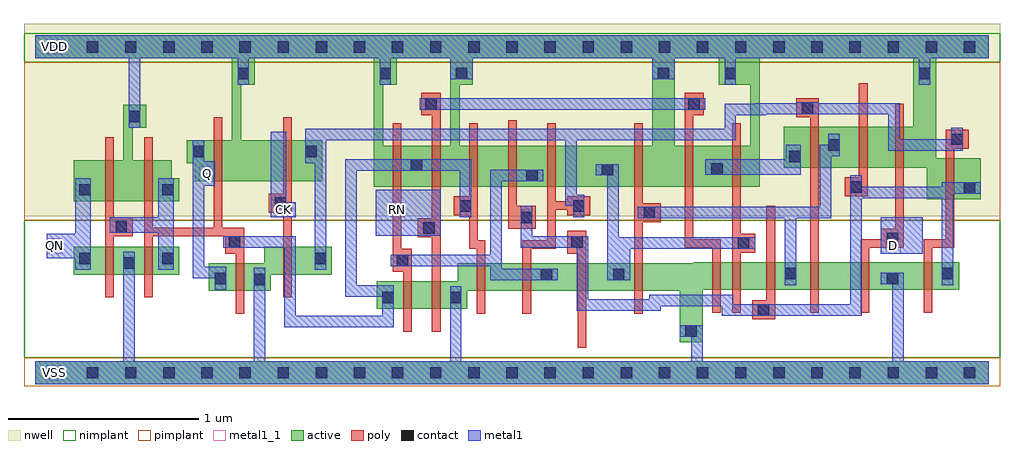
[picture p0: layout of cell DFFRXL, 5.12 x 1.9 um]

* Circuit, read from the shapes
.subckt DFFRXL CK D Q QN RN VDD VSS
M1 VSS n1 QN VSS nfet w=0.145u l=0.045u
M2 n1 n2 VSS VSS nfet w=0.145u l=0.045u
M3 VSS n2 Q VSS nfet w=0.145u l=0.045u
M4 n3 CK VSS VSS nfet w=0.145u l=0.045u
M5 n4 n5 n2 VSS nfet w=0.145u l=0.045u
M6 VSS RN n4 VSS nfet w=0.145u l=0.045u
M7 n6 n2 VSS VSS nfet w=0.145u l=0.045u
M8 n5 n3 n6 VSS nfet w=0.145u l=0.045u
M9 n7 n8 n5 VSS nfet w=0.145u l=0.045u
M10 VSS n9 n7 VSS nfet w=0.145u l=0.045u
M11 n10 RN VSS VSS nfet w=0.145u l=0.045u
M12 n11 n7 n10 VSS nfet w=0.145u l=0.045u
M13 n9 n8 n11 VSS nfet w=0.145u l=0.045u
M14 n12 n3 n9 VSS nfet w=0.145u l=0.045u
M15 VSS D n12 VSS nfet w=0.145u l=0.045u
M16 n8 n3 VSS VSS nfet w=0.145u l=0.045u
M17 VDD n1 QN VDD pfet w=0.215u l=0.045u
M18 n1 n2 VDD VDD pfet w=0.215u l=0.045u
M19 VDD n2 Q VDD pfet w=0.215u l=0.045u
M20 n3 CK VDD VDD pfet w=0.215u l=0.045u
M21 n2 n5 VDD VDD pfet w=0.215u l=0.045u
M22 VDD RN n2 VDD pfet w=0.215u l=0.045u
M23 n13 n2 VDD VDD pfet w=0.215u l=0.045u
M24 n5 n8 n13 VDD pfet w=0.215u l=0.045u
M25 n7 n3 n5 VDD pfet w=0.215u l=0.045u
M26 VDD n9 n7 VDD pfet w=0.215u l=0.045u
M27 n14 RN VDD VDD pfet w=0.215u l=0.045u
M28 VDD n7 n14 VDD pfet w=0.215u l=0.045u
M29 n9 n3 n14 VDD pfet w=0.215u l=0.045u
M30 n15 n8 n9 VDD pfet w=0.215u l=0.045u
M31 VDD D n15 VDD pfet w=0.215u l=0.045u
M32 n8 n3 VDD VDD pfet w=0.215u l=0.045u
.ends

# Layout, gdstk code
import gdstk
lib = gdstk.Library(unit=1e-6, precision=5e-10)
def R(c, l, rs):  # rectangles x0, y0, x1, y1
    for r in rs: c.add(gdstk.rectangle(r[:2], r[2:], *l))
def A(c, l, x, y, w, h, nx, ny, dx, dy):  # array of equal rectangles
    R(c, l, [(x+i*dx, y+j*dy, x+i*dx+w, y+j*dy+h) for i in range(nx) for j in range(ny)])
def P(c, l, *ps):  # polygons
    for p in ps: c.add(gdstk.Polygon(p, *l))
active = (1, 0)
nwell = (2, 0)
poly = (3, 0)
nimplant = (4, 0)
pimplant = (5, 0)
contact = (6, 0)
metal1 = (7, 0)
metal1_1 = (7, 1)

dffrxl = lib.new_cell('DFFRXL')
R(dffrxl, active, [(0,-0.06,5,0.06), (0.2,0.515,0.755,0.66)])
P(dffrxl, active, [(0,1.77),(5,1.77),(5,1.65),(4.725,1.65),(4.725,1.125),(4.96,1.125),(4.96,0.91),(4.675,0.91),(4.675,1.075),(3.925,1.075),(3.925,1.29),(4.605,1.29),(4.605,1.65),(3.8,1.65),(3.8,0.975),(1.775,0.975),(1.775,1.65),(1.895,1.65),(1.895,1.51),(1.825,1.51),(1.825,1.19),(2.175,1.19),(2.175,1.65),(2.295,1.65),(2.295,1.51),(2.225,1.51),(2.225,1.19),(3.235,1.19),(3.235,1.65),(3.355,1.65),(3.355,1.19),(3.75,1.19),(3.75,1.51),(3.585,1.51),(3.585,1.65),(1.15,1.65),(1.15,1.51),(1.08,1.51),(1.08,1.22),(1.505,1.22),(1.505,1.005),(0.835,1.005),(0.835,1.1),(0.795,1.1),(0.795,1.22),(1.03,1.22),(1.03,1.65),(0,1.65)],
  [(0.46,1.405),(0.58,1.405),(0.58,1.285),(0.51,1.285),(0.51,1.115),(0.715,1.115),(0.715,1.02),(0.755,1.02),(0.755,0.9),(0.2,0.9),(0.2,1.115),(0.46,1.115)],
  [(1.2,0.66),(1.555,0.66),(1.555,0.515),(1.235,0.515),(1.235,0.43),(0.91,0.43),(0.91,0.575),(1.2,0.575)],
  [(3.45,0.58),(4.845,0.58),(4.845,0.435),(3.5,0.435),(3.5,0.16),(3.38,0.16),(3.38,0.43),(2.265,0.43),(2.265,0.335),(1.79,0.335),(1.79,0.48),(2.215,0.48),(2.215,0.575),(3.45,0.575)])
R(dffrxl, nwell, [(-0.06,0.82,5.06,1.83)])
P(dffrxl, poly, [(0.57,1.235),(0.615,1.235),(0.615,0.76),(0.935,0.76),(0.935,1.34),(0.98,1.34),(0.98,0.76),(1.095,0.76),(1.095,0.31),(1.05,0.31),(1.05,0.625),(0.995,0.625),(0.995,0.715),(0.615,0.715),(0.615,0.395),(0.57,0.395)],
  [(2.025,1.47),(2.125,1.47),(2.125,0.215),(2.08,0.215),(2.08,0.71),(2.005,0.71),(2.005,0.81),(2.08,0.81),(2.08,1.35),(2.025,1.35)],
  [(0.365,1.235),(0.41,1.235),(0.41,0.815),(0.51,0.815),(0.51,0.715),(0.41,0.715),(0.41,0.395),(0.365,0.395)],
  [(1.3,1.34),(1.345,1.34),(1.345,0.395),(1.3,0.395),(1.3,0.84),(1.225,0.84),(1.225,0.94),(1.3,0.94)],
  [(1.875,1.31),(1.92,1.31),(1.92,0.65),(1.975,0.65),(1.975,0.215),(1.93,0.215),(1.93,0.53),(1.875,0.53)],
  [(2.275,1.31),(2.32,1.31),(2.32,0.695),(2.36,0.695),(2.36,0.31),(2.315,0.31),(2.315,0.65),(2.275,0.65),(2.275,0.825),(2.195,0.825),(2.195,0.925),(2.275,0.925)],
  [(2.48,1.325),(2.525,1.325),(2.525,0.875),(2.625,0.875),(2.625,0.755),(2.48,0.755)],
  [(2.685,1.31),(2.73,1.31),(2.73,0.9),(2.79,0.9),(2.79,0.925),(2.91,0.925),(2.91,0.825),(2.79,0.825),(2.79,0.855),(2.73,0.855),(2.73,0.65),(2.6,0.65),(2.6,0.31),(2.555,0.31),(2.555,0.695),(2.685,0.695)],
  [(3.14,1.31),(3.185,1.31),(3.185,0.89),(3.28,0.89),(3.28,0.79),(3.185,0.79),(3.185,0.31),(3.14,0.31)],
  [(3.405,1.47),(3.505,1.47),(3.505,1.35),(3.45,1.35),(3.45,0.7),(3.595,0.7),(3.595,0.315),(3.55,0.315),(3.55,0.655),(3.405,0.655)],
  [(3.655,1.31),(3.7,1.31),(3.7,0.73),(3.775,0.73),(3.775,0.63),(3.7,0.63),(3.7,0.315),(3.655,0.315)],
  [(3.99,1.44),(4.11,1.44),(4.11,0.315),(4.065,0.315),(4.065,1.34),(3.99,1.34)],
  [(4.32,1.52),(4.365,1.52),(4.365,0.925),(4.245,0.925),(4.245,1.025),(4.32,1.025)],
  [(4.51,1.41),(4.555,1.41),(4.555,0.655),(4.375,0.655),(4.375,0.315),(4.33,0.315),(4.33,0.7),(4.435,0.7),(4.435,0.755),(4.51,0.755)],
  [(4.775,1.275),(4.895,1.275),(4.895,1.175),(4.82,1.175),(4.82,0.655),(4.705,0.655),(4.705,0.315),(4.66,0.315),(4.66,0.7),(4.775,0.7)],
  [(2.79,0.745),(2.89,0.745),(2.89,0.13),(2.845,0.13),(2.845,0.625),(2.79,0.625)],
  [(3.835,0.875),(3.88,0.875),(3.88,0.28),(3.76,0.28),(3.76,0.38),(3.835,0.38)])
R(dffrxl, nimplant, [(-0.06,0.08,5.06,0.8), (-0.06,1.63,5.06,1.78)])
R(dffrxl, pimplant, [(-0.06,-0.07,5.06,0.08), (-0.06,0.8,5.06,1.63)])
A(dffrxl, contact, 0.07, -0.03, 0.06, 0.06, 25, 2, 0.2, 1.71)
R(dffrxl, contact, [(3.41,0.19,3.47,0.25), (3.79,0.3,3.85,0.36), (1.82,0.365,1.88,0.425), (2.175,0.365,2.235,0.425), (1.145,0.46,1.205,0.52), (0.94,0.465,1,0.525), (4.465,0.465,4.525,0.525), (2.65,0.485,2.71,0.545), (3.03,0.485,3.09,0.545), (3.93,0.49,3.99,0.55), (4.755,0.49,4.815,0.55), (0.46,0.545,0.52,0.605), (1.895,0.56,1.955,0.62), (0.23,0.57,0.29,0.63), (0.665,0.57,0.725,0.63), (1.465,0.57,1.525,0.63), (3.685,0.65,3.745,0.71), (1.015,0.655,1.075,0.715), (2.81,0.655,2.87,0.715), (4.465,0.675,4.525,0.735), (2.035,0.73,2.095,0.79), (0.42,0.735,0.48,0.795), (2.545,0.785,2.605,0.845), (3.19,0.81,3.25,0.87), (2.225,0.845,2.285,0.905), (2.82,0.845,2.88,0.905), (1.255,0.86,1.315,0.92), (0.23,0.93,0.29,0.99), (0.665,0.93,0.725,0.99), (4.87,0.94,4.93,1), (4.275,0.945,4.335,1.005), (2.575,1.005,2.635,1.065), (2.97,1.035,3.03,1.095), (3.545,1.04,3.605,1.1), (1.97,1.06,2.03,1.12), (3.955,1.105,4.015,1.165), (0.825,1.13,0.885,1.19), (1.415,1.13,1.475,1.19), (4.16,1.165,4.22,1.225), (4.805,1.195,4.865,1.255), (0.49,1.315,0.55,1.375), (4.02,1.36,4.08,1.42), (2.045,1.38,2.105,1.44), (3.425,1.38,3.485,1.44), (1.06,1.54,1.12,1.6), (1.805,1.54,1.865,1.6), (2.205,1.54,2.265,1.6), (3.265,1.54,3.325,1.6), (3.615,1.54,3.675,1.6), (4.635,1.54,4.695,1.6)])
R(dffrxl, metal1, [(4.435,0.625,4.655,0.815), (1.785,0.72,2.125,0.96), (2.015,1.38,3.515,1.44)])
P(dffrxl, metal1, [(0,1.77),(5,1.77),(5,1.65),(4.695,1.65),(4.695,1.51),(4.635,1.51),(4.635,1.65),(3.675,1.65),(3.675,1.51),(3.615,1.51),(3.615,1.65),(3.355,1.65),(3.355,1.54),(3.235,1.54),(3.235,1.65),(2.295,1.65),(2.295,1.54),(2.175,1.54),(2.175,1.65),(1.865,1.65),(1.865,1.51),(1.805,1.51),(1.805,1.65),(1.12,1.65),(1.12,1.51),(1.06,1.51),(1.06,1.65),(0.55,1.65),(0.55,1.285),(0.49,1.285),(0.49,1.65),(0,1.65)],
  [(0.825,1.22),(0.885,1.22),(0.885,1.11),(0.94,1.11),(0.94,0.98),(0.885,0.98),(0.885,0.555),(1,0.555),(1,0.435),(0.94,0.435),(0.94,0.495),(0.825,0.495)],
  [(3.99,1.42),(4.11,1.42),(4.11,1.415),(4.535,1.415),(4.535,1.225),(4.805,1.225),(4.805,1.285),(4.865,1.285),(4.865,1.165),(4.475,1.165),(4.475,1.355),(3.835,1.355),(3.835,1.35),(3.675,1.35),(3.675,1.22),(2.84,1.22),(2.84,0.935),(2.88,0.935),(2.88,0.815),(2.82,0.815),(2.82,0.875),(2.78,0.875),(2.78,1.22),(1.525,1.22),(1.525,0.54),(1.465,0.54),(1.465,1.1),(1.415,1.1),(1.415,1.28),(3.615,1.28),(3.615,1.41),(3.775,1.41),(3.775,1.415),(3.99,1.415)],
  [(3.935,1.195),(4.015,1.195),(4.015,1.04),(3.515,1.04),(3.515,1.12),(3.935,1.12)],
  [(0.21,1.02),(0.29,1.02),(0.29,0.54),(0.21,0.54),(0.21,0.6),(0.06,0.6),(0.06,0.73),(0.21,0.73)],
  [(0.645,1.02),(0.725,1.02),(0.725,0.54),(0.645,0.54),(0.645,0.735),(0.39,0.735),(0.39,0.815),(0.645,0.815)],
  [(0.46,0.635),(0.52,0.635),(0.52,0.06),(1.145,0.06),(1.145,0.55),(1.205,0.55),(1.205,0.06),(2.175,0.06),(2.175,0.455),(2.235,0.455),(2.235,0.06),(3.44,0.06),(3.44,0.19),(3.38,0.19),(3.38,0.25),(3.5,0.25),(3.5,0.06),(4.495,0.06),(4.495,0.465),(4.435,0.465),(4.435,0.525),(4.555,0.525),(4.555,0.06),(5,0.06),(5,-0.06),(0,-0.06),(0,0.06),(0.46,0.06)],
  [(1.235,1.265),(1.315,1.265),(1.315,0.895),(1.365,0.895),(1.365,0.815),(1.235,0.815)],
  [(1.625,1.12),(2.285,1.12),(2.285,0.815),(2.225,0.815),(2.225,1.06),(1.685,1.06),(1.685,0.46),(1.88,0.46),(1.88,0.24),(1.305,0.24),(1.305,0.655),(0.985,0.655),(0.985,0.715),(1.365,0.715),(1.365,0.3),(1.82,0.3),(1.82,0.4),(1.625,0.4)],
  [(2.385,1.065),(2.665,1.065),(2.665,1.005),(2.445,1.005),(2.445,0.545),(2.74,0.545),(2.74,0.485),(2.385,0.485),(2.385,0.56),(1.865,0.56),(1.865,0.62),(2.385,0.62)],
  [(4.16,1.255),(4.22,1.255),(4.22,1.135),(4.175,1.135),(4.175,0.81),(3.99,0.81),(3.99,0.46),(3.93,0.46),(3.93,0.81),(3.16,0.81),(3.16,0.87),(4.115,0.87),(4.115,1.195),(4.16,1.195)],
  [(2.94,1.095),(3.06,1.095),(3.06,0.71),(3.775,0.71),(3.775,0.65),(3.12,0.65),(3.12,0.485),(3,0.485),(3,1.035),(2.94,1.035)],
  [(4.275,1.035),(4.335,1.035),(4.335,0.975),(4.755,0.975),(4.755,1),(4.96,1),(4.96,0.94),(4.815,0.94),(4.815,0.46),(4.755,0.46),(4.755,0.915),(4.335,0.915),(4.335,0.3),(3.6,0.3),(3.6,0.35),(3.28,0.35),(3.28,0.325),(2.84,0.325),(2.84,0.655),(2.545,0.655),(2.545,0.875),(2.605,0.875),(2.605,0.715),(2.9,0.715),(2.9,0.385),(3.22,0.385),(3.22,0.41),(3.66,0.41),(3.66,0.36),(4.275,0.36)])
R(dffrxl, metal1_1, [(0.06,-0.04,0.14,0.04), (0.06,0.625,0.14,0.705), (4.46,0.625,4.54,0.705), (1.26,0.815,1.34,0.895), (1.86,0.815,1.94,0.895), (0.86,1.005,0.94,1.085), (0.06,1.67,0.14,1.75)])
dffrxl.add(gdstk.Label('Q', (0.9,1.045), layer=7, texttype=1))
dffrxl.add(gdstk.Label('QN', (0.1,0.665), layer=7, texttype=1))
dffrxl.add(gdstk.Label('RN', (1.9,0.855), layer=7, texttype=1))
dffrxl.add(gdstk.Label('CK', (1.3,0.855), layer=7, texttype=1))
dffrxl.add(gdstk.Label('D', (4.5,0.665), layer=7, texttype=1))
dffrxl.add(gdstk.Label('VDD', (0.1,1.71), layer=7, texttype=1))
dffrxl.add(gdstk.Label('VSS', (0.1,0), layer=7, texttype=1))
dffrxl.add(gdstk.Label('DFFRXL', (0,0), layer=63, texttype=0))

lib.write_gds('DFFRXL.gds')
